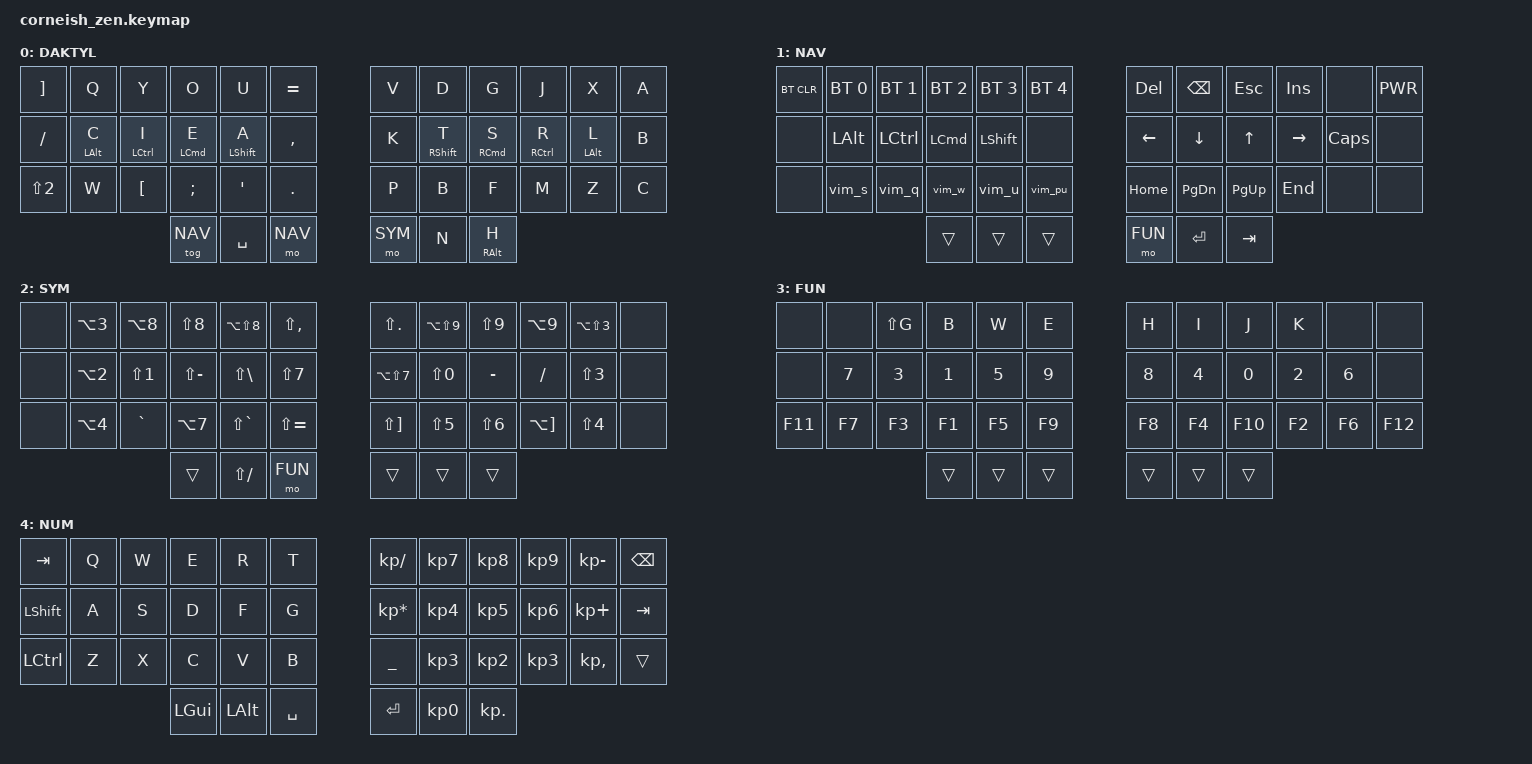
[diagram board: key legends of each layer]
#include <behaviors.dtsi>
#include <dt-bindings/zmk/keys.h>
#include <dt-bindings/zmk/bt.h>
#include <dt-bindings/zmk/ext_power.h> 

#define DEFAULT 0
#define NAV     1
#define SYM     2
#define FUN     3
#define PAD     4

&mt {
        tapping-term-ms = <250>;
};

#define MACRO(name, keys)                 \
name: name##_macro {                      \
	label = #name;                    \
	compatible = "zmk,behavior-macro";\
	#binding-cells = <0>;             \
	tap-ms = <40>;                    \
	wait-ms = <42>;                   \
	bindings = <keys>;                \
};

/ {
	macros {
		MACRO(vim_s,  &kp LS(DOT) &kp LS(N5) &kp S &kp LS(N7))
		MACRO(vim_q,  &kp LS(DOT) &kp Q)
		MACRO(vim_w,  &kp LS(DOT) &kp W)
		MACRO(vim_u,  &kp LS(DOT) &kp U)
		MACRO(vim_pu, &kp LS(DOT) &kp P &kp U)
	};
};

/ {
        chosen {
                zmk,matrix_transform = &default_transform;
        };
};

/ {
        keymap {
                compatible = "zmk,keymap";

                default_layer {
                        label = "DAKTYL";
// -----------------------------------------------------------------------------------------
// |   ¨  |  Q  |  Y  |  O  |  U  |  ´  |   |  V  |  D   |  G  |  J  |  X  |  §   |
// |   -  |  C  |  I  |  E  |  A  |  ,  |   |  K  |  T   |  S  |  R  |  L  |  '   |
// |   "  |  W  |  Å  |  Ö  |  Ä  |  .  |   |  P  |  B   |  F  |  M  |  Z  | PAD  |
//                    | NAV | SPC | NAV |   | SYM |  N   |  H |
                        bindings = <
   &kp RBKT   &kp Q      &kp Y       &kp O      &kp U       &kp EQUAL   &kp V   &kp D       &kp G      &kp J       &kp X      &kp A//LS(EQUAL)
   &kp FSLH   &mt LALT C &mt LCTRL I &mt LCMD E &mt LSHFT A &kp COMMA   &kp K   &mt RSHFT T &mt RCMD S &mt RCTRL R &mt LALT L &kp B//HASH
   &kp LS(N2) &kp W      &kp LBKT    &kp SEMI   &kp SQT     &kp DOT     &kp P   &kp B       &kp F      &kp M       &kp Z      &kp C//tog PAD
                                     &tog NAV   &kp SPACE   &mo NAV     &mo SYM &kp N       &mt RALT H
                        >;
                };

               nav_layer {
                        label = "NAV";
// -----------------------------------------------------------------------------------------
// | BTCLR | BT0  | BT1  | BT2  | BT3  | BT4  |     | DEL | BKSP | ESC | INS | none | PWR  |
// | none  | OPT  | CTL  | CMD  | SHFT | none |     | LFT | DWN  | UP  | RGT | CAPS | none |
// | none  | srch | :Q   | :W   | :U   | :PU  |     | HOM | PGD  | PGU | END | none | none |
//                       |      |      |      |     | FUN | RET  | TAB |
                        bindings = <
   &bt BT_CLR  &bt BT_SEL 0 &bt BT_SEL 1 &bt BT_SEL 2 &bt BT_SEL 3 &bt BT_SEL 4  &kp DEL  &kp BSPC  &kp ESC   &kp INS   &none    &kp C_PWR
   &none       &kp LALT     &kp LCTL     &kp LCMD     &kp LSHFT    &none         &kp LEFT &kp DOWN  &kp UP    &kp RIGHT &kp CAPS &none
   &none       &vim_s       &vim_q       &vim_w       &vim_u       &vim_pu       &kp HOME &kp PG_DN &kp PG_UP &kp END   &none    &none
                          	         &trans       &trans       &trans        &mo FUN  &kp RET   &kp TAB
                        >;
                };

                sym_layer {
                        label = "SYM";
// -----------------------------------------------------------------------------------------
// | none |  £  |  [  |  (  |  {  |  ;  |     |  :  |  }  |  )  |  ]  |  ¥  | none |
// | none |  @  |  !  |  ?  |  *  |  /  |     |  \  |  =  |  +  |  -  |  #  | none |
// | none |  $  |  <  |  |  |  >  |  `  |     |  ^  |  %  |  &  |  ~  |  €  | none |
//                    |none | _   | FUN |     |     |     |     |
                        bindings = <
   &none &kp LA(N3) &kp LA(N8) &kp LS(N8)    &kp LA(LS(N8)) &kp LS(COMMA)   &kp LS(DOT)    &kp LA(LS(N9)) &kp LS(N9) &kp LA(N9)    &kp LA(LS(N3)) &none
   &none &kp LA(N2) &kp LS(N1) &kp LS(MINUS) &kp LS(BSLH)   &kp LS(N7)      &kp LA(LS(N7)) &kp LS(N0)     &kp MINUS  &kp FSLH      &kp LS(N3)     &none
   &none &kp LA(N4) &kp GRAVE  &kp LA(N7)    &kp LS(GRAVE)  &kp LS(EQUAL)   &kp LS(RBKT)   &kp LS(N5)     &kp LS(N6) &kp LA(RBKT)  &kp LS(N4)     &none
                               &trans        &kp LS(FSLH)   &mo FUN         &trans         &trans         &trans
                        >;
                };

                fun_layer {
                        label = "FUN";
// -----------------------------------------------------------------------------------------
// | none | none|  G  |  b  |  w  |  e  |   |  h  |  i  |  j  |  k  | none| none |
// | none |  7  |  3  |  1  |  5  |  9  |   |  8  |  4  |  0  |  2  |  6  | none |
// | f11  | f7  | f3  | f1  | f5  | f9  |   | f8  | f4  | f0  | f2  | f6  | f12  |
//                    |     |     |     |   |     |     |     |
                        bindings = <
   &none   &none  &kp LS(G) &kp B   &kp W   &kp E      &kp H   &kp I   &kp J   &kp K  &none  &none
   &none   &kp N7 &kp N3    &kp N1  &kp N5  &kp N9     &kp N8  &kp N4  &kp N0  &kp N2 &kp N6 &none
   &kp F11 &kp F7 &kp F3    &kp F1  &kp F5  &kp F9     &kp F8  &kp F4  &kp F10 &kp F2 &kp F6 &kp F12
                    	    &trans  &trans  &trans     &trans  &trans  &trans
                        >;
                };

                num_layer {
                        label = "NUM";
// -----------------------------------------------------------------------------------------
// |  TAB |  Q  |  W  |  E  |  R  |  T  |   |  /  |  7  |  8  |  9  |  -  | BKSP |
// | SHFT |  A  |  S  |  D  |  F  |  G  |   |  *  |  4  |  5  |  6  |  +  | TAB  |
// | CTRL |  Z  |  X  |  C  |  V  |  B  |   |  =  |  1  |  2  |  3  |  ,  |      |
//                    | GUI | ALT | SPC |   | ENT |  0  |  .  |
                        bindings = <
   &kp TAB   &kp Q &kp W &kp E &kp R &kp T   &kp KP_SLASH    &kp KP_N7 &kp KP_N8 &kp KP_N9 &kp KP_MINUS &kp BSPC
   &kp LSHFT &kp A &kp S &kp D &kp F &kp G   &kp KP_MULTIPLY &kp KP_N4 &kp KP_N5 &kp KP_N6 &kp KP_PLUS  &kp TAB
   &kp LCTRL &kp Z &kp X &kp C &kp V &kp B   &kp UNDER       &kp KP_N3 &kp KP_N2 &kp KP_N3 &kp KP_COMMA &trans
              &kp LGUI  &kp LALT &kp SPACE   &kp RET         &kp KP_N0 &kp KP_DOT
                        >;
                };
        };
};
